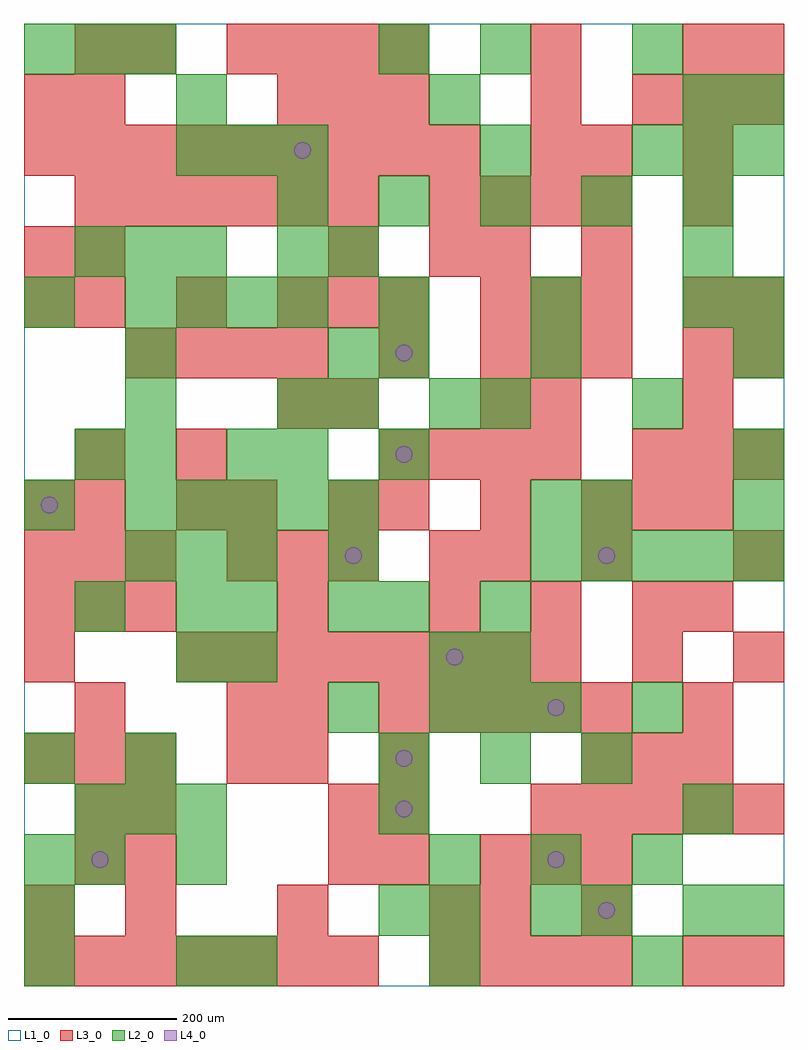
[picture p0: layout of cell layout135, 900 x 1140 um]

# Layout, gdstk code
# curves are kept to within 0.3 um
import gdstk
lib = gdstk.Library(unit=1e-6, precision=1e-09)
def R(c, l, rs):  # rectangles x0, y0, x1, y1
    for r in rs: c.add(gdstk.rectangle(r[:2], r[2:], *l))
def A(c, l, x, y, w, h, nx, ny, dx, dy):  # array of equal rectangles
    R(c, l, [(x+i*dx, y+j*dy, x+i*dx+w, y+j*dy+h) for i in range(nx) for j in range(ny)])
def P(c, l, *ps):  # polygons
    for p in ps: c.add(gdstk.Polygon(p, *l))
L1_0 = (1, 0)
L2_0 = (2, 0)
L3_0 = (3, 0)
L4_0 = (4, 0)

layout135 = lib.new_cell('layout135')
R(layout135, L1_0, [(0,0,900,1140)])
A(layout135, L2_0, 0, 0, 60, 60, 1, 3, 0, 60)
A(layout135, L2_0, 240, 0, 60, 60, 3, 1, 240, 0)
A(layout135, L2_0, 480, 60, 60, 60, 1, 3, 0, 300)
A(layout135, L2_0, 480, 120, 60, 60, 3, 1, 120, 0)
A(layout135, L2_0, 60, 180, 60, 60, 3, 2, 60, 660)
A(layout135, L2_0, 420, 240, 60, 60, 3, 1, 120, 0)
A(layout135, L2_0, 480, 300, 60, 60, 3, 1, 60, 0)
A(layout135, L2_0, 120, 480, 60, 60, 3, 1, 60, 0)
A(layout135, L2_0, 600, 480, 60, 60, 5, 1, 60, 0)
A(layout135, L2_0, 120, 540, 60, 60, 5, 1, 60, 0)
A(layout135, L2_0, 120, 600, 60, 60, 1, 3, 0, 60)
A(layout135, L2_0, 120, 780, 60, 60, 4, 1, 60, 0)
A(layout135, L2_0, 420, 780, 60, 60, 3, 1, 180, 0)
A(layout135, L2_0, 300, 900, 60, 60, 5, 1, 120, 0)
A(layout135, L2_0, 180, 960, 60, 60, 3, 1, 60, 0)
A(layout135, L2_0, 720, 960, 60, 60, 3, 1, 60, 0)
A(layout135, L2_0, 180, 1020, 60, 60, 3, 1, 300, 0)
A(layout135, L2_0, 0, 1080, 60, 60, 3, 1, 60, 0)
R(layout135, L2_0, [(180,0,240,60), (420,60,480,120), (600,60,660,120), (660,60,720,120), (780,60,840,120), (840,60,900,120), (60,120,120,180), (180,120,240,180), (420,180,480,240), (780,180,840,240), (0,240,60,300), (120,240,180,300), (360,300,420,360), (720,300,780,360), (180,360,240,420), (240,360,300,420), (540,360,600,420), (60,420,120,480), (180,420,240,480), (240,420,300,480), (360,420,420,480), (420,420,480,480), (540,420,600,480), (360,480,420,540), (0,540,60,600), (600,540,660,600), (660,540,720,600), (840,540,900,600), (60,600,120,660), (240,600,300,660), (300,600,360,660), (420,600,480,660), (840,600,900,660), (300,660,360,720), (360,660,420,720), (540,660,600,720), (720,660,780,720), (360,720,420,780), (420,720,480,780), (600,720,660,780), (840,720,900,780), (0,780,60,840), (840,780,900,840), (300,840,360,900), (360,840,420,900), (780,840,840,900), (540,960,600,1020), (840,1020,900,1080), (420,1080,480,1140), (540,1080,600,1140), (720,1080,780,1140)])
A(layout135, L3_0, 0, 0, 60, 60, 7, 1, 60, 0)
A(layout135, L3_0, 480, 0, 60, 60, 4, 2, 60, 900)
A(layout135, L3_0, 120, 60, 60, 60, 3, 1, 180, 0)
A(layout135, L3_0, 420, 120, 60, 60, 1, 3, 0, 60)
A(layout135, L3_0, 540, 120, 60, 60, 3, 2, 60, 600)
A(layout135, L3_0, 600, 180, 60, 60, 5, 1, 60, 0)
A(layout135, L3_0, 0, 240, 60, 60, 3, 2, 60, 180)
A(layout135, L3_0, 660, 240, 60, 60, 3, 1, 60, 0)
A(layout135, L3_0, 420, 300, 60, 60, 5, 1, 60, 0)
A(layout135, L3_0, 780, 300, 60, 60, 1, 4, 0, 120)
A(layout135, L3_0, 180, 360, 60, 60, 8, 1, 60, 0)
A(layout135, L3_0, 480, 420, 60, 60, 3, 1, 120, 0)
A(layout135, L3_0, 0, 480, 60, 60, 3, 1, 60, 0)
A(layout135, L3_0, 240, 480, 60, 60, 3, 1, 60, 0)
A(layout135, L3_0, 540, 480, 60, 60, 1, 3, 0, 180)
A(layout135, L3_0, 360, 540, 60, 60, 1, 3, 0, 120)
A(layout135, L3_0, 420, 540, 60, 60, 3, 1, 120, 0)
A(layout135, L3_0, 420, 600, 60, 60, 4, 1, 60, 0)
A(layout135, L3_0, 720, 600, 60, 60, 3, 2, 60, 420)
A(layout135, L3_0, 120, 720, 60, 60, 4, 1, 60, 0)
A(layout135, L3_0, 60, 780, 60, 60, 3, 1, 120, 0)
A(layout135, L3_0, 540, 780, 60, 60, 3, 1, 60, 0)
A(layout135, L3_0, 60, 900, 60, 60, 6, 1, 60, 0)
A(layout135, L3_0, 0, 960, 60, 60, 9, 1, 60, 0)
A(layout135, L3_0, 600, 960, 60, 60, 1, 3, 0, 60)
A(layout135, L3_0, 300, 1020, 60, 60, 3, 1, 60, 0)
A(layout135, L3_0, 240, 1080, 60, 60, 4, 1, 60, 0)
R(layout135, L3_0, [(780,0,840,60), (840,0,900,60), (0,60,60,120), (540,60,600,120), (660,60,720,120), (60,120,120,180), (120,120,180,180), (360,120,420,180), (60,180,120,240), (120,180,180,240), (360,180,420,240), (240,240,300,300), (300,240,360,300), (60,300,120,360), (240,300,300,360), (300,300,360,360), (0,360,60,420), (720,360,780,420), (840,360,900,420), (300,420,360,480), (480,480,540,540), (660,480,720,540), (840,480,900,540), (0,540,60,600), (60,540,120,600), (180,540,240,600), (240,540,300,600), (720,540,780,600), (60,600,120,660), (180,600,240,660), (300,660,360,720), (600,660,660,720), (420,720,480,780), (780,720,840,780), (840,720,900,780), (0,780,60,840), (420,780,480,840), (780,780,840,840), (840,780,900,840), (0,840,60,900), (60,840,120,900), (360,840,420,900), (480,840,540,900), (660,840,720,900), (780,900,840,960), (660,960,720,1020), (780,960,840,1020), (0,1020,60,1080), (60,1020,120,1080), (60,1080,120,1140), (120,1080,180,1140), (780,1080,840,1140), (840,1080,900,1140)])
P(layout135, L4_0, [(40,570),(39.239,573.827),(37.071,577.071),(33.827,579.239),(30,580),(26.173,579.239),(22.929,577.071),(20.761,573.827),(20,570),(20.761,566.173),(22.929,562.929),(26.173,560.761),(30,560),(33.827,560.761),(37.071,562.929),(39.239,566.173)],
  [(100,150),(99.239,153.827),(97.071,157.071),(93.827,159.239),(90,160),(86.173,159.239),(82.929,157.071),(80.761,153.827),(80,150),(80.761,146.173),(82.929,142.929),(86.173,140.761),(90,140),(93.827,140.761),(97.071,142.929),(99.239,146.173)],
  [(340,990),(339.239,993.827),(337.071,997.071),(333.827,999.239),(330,1000),(326.173,999.239),(322.929,997.071),(320.761,993.827),(320,990),(320.761,986.173),(322.929,982.929),(326.173,980.761),(330,980),(333.827,980.761),(337.071,982.929),(339.239,986.173)],
  [(400,510),(399.239,513.827),(397.071,517.071),(393.827,519.239),(390,520),(386.173,519.239),(382.929,517.071),(380.761,513.827),(380,510),(380.761,506.173),(382.929,502.929),(386.173,500.761),(390,500),(393.827,500.761),(397.071,502.929),(399.239,506.173)],
  [(460,210),(459.239,213.827),(457.071,217.071),(453.827,219.239),(450,220),(446.173,219.239),(442.929,217.071),(440.761,213.827),(440,210),(440.761,206.173),(442.929,202.929),(446.173,200.761),(450,200),(453.827,200.761),(457.071,202.929),(459.239,206.173)],
  [(460,270),(459.239,273.827),(457.071,277.071),(453.827,279.239),(450,280),(446.173,279.239),(442.929,277.071),(440.761,273.827),(440,270),(440.761,266.173),(442.929,262.929),(446.173,260.761),(450,260),(453.827,260.761),(457.071,262.929),(459.239,266.173)],
  [(460,630),(459.239,633.827),(457.071,637.071),(453.827,639.239),(450,640),(446.173,639.239),(442.929,637.071),(440.761,633.827),(440,630),(440.761,626.173),(442.929,622.929),(446.173,620.761),(450,620),(453.827,620.761),(457.071,622.929),(459.239,626.173)],
  [(460,750),(459.239,753.827),(457.071,757.071),(453.827,759.239),(450,760),(446.173,759.239),(442.929,757.071),(440.761,753.827),(440,750),(440.761,746.173),(442.929,742.929),(446.173,740.761),(450,740),(453.827,740.761),(457.071,742.929),(459.239,746.173)],
  [(520,390),(519.239,393.827),(517.071,397.071),(513.827,399.239),(510,400),(506.173,399.239),(502.929,397.071),(500.761,393.827),(500,390),(500.761,386.173),(502.929,382.929),(506.173,380.761),(510,380),(513.827,380.761),(517.071,382.929),(519.239,386.173)],
  [(640,150),(639.239,153.827),(637.071,157.071),(633.827,159.239),(630,160),(626.173,159.239),(622.929,157.071),(620.761,153.827),(620,150),(620.761,146.173),(622.929,142.929),(626.173,140.761),(630,140),(633.827,140.761),(637.071,142.929),(639.239,146.173)],
  [(640,330),(639.239,333.827),(637.071,337.071),(633.827,339.239),(630,340),(626.173,339.239),(622.929,337.071),(620.761,333.827),(620,330),(620.761,326.173),(622.929,322.929),(626.173,320.761),(630,320),(633.827,320.761),(637.071,322.929),(639.239,326.173)],
  [(700,90),(699.239,93.827),(697.071,97.071),(693.827,99.239),(690,100),(686.173,99.239),(682.929,97.071),(680.761,93.827),(680,90),(680.761,86.173),(682.929,82.929),(686.173,80.761),(690,80),(693.827,80.761),(697.071,82.929),(699.239,86.173)],
  [(700,510),(699.239,513.827),(697.071,517.071),(693.827,519.239),(690,520),(686.173,519.239),(682.929,517.071),(680.761,513.827),(680,510),(680.761,506.173),(682.929,502.929),(686.173,500.761),(690,500),(693.827,500.761),(697.071,502.929),(699.239,506.173)])

lib.write_gds('layout135.gds')
